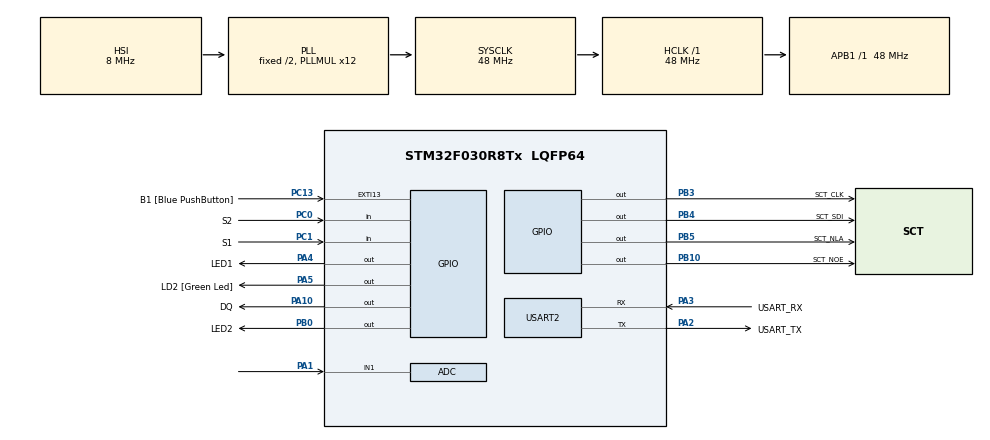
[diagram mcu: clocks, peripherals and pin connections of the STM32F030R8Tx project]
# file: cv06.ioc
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ADC.ContinuousConvMode=ENABLE
ADC.Overrun=ADC_OVR_DATA_OVERWRITTEN
ADC.Resolution=ADC_RESOLUTION_10B
Mcu.Family=STM32F0
Mcu.Name=STM32F030R8Tx
Mcu.Package=LQFP64
PA1.Mode=IN1
PA1.Signal=ADC_IN1
PA10.GPIO_Label=DQ
PA10.GPIO_ModeDefaultOutputPP=GPIO_MODE_OUTPUT_OD
PA10.GPIO_PuPd=GPIO_NOPULL
PA10.PinState=GPIO_PIN_SET
PA10.Signal=GPIO_Output
PA13.GPIO_Label=TMS
PA13.Mode=Serial_Wire
PA13.Signal=SYS_SWDIO
PA14.GPIO_Label=TCK
PA14.Mode=Serial_Wire
PA14.Signal=SYS_SWCLK
PA2.GPIO_Label=USART_TX
PA2.GPIO_Mode=GPIO_MODE_AF_PP
PA2.GPIO_PuPd=GPIO_NOPULL
PA2.GPIO_Speed=GPIO_SPEED_FREQ_LOW
PA2.Mode=Asynchronous
PA2.Signal=USART2_TX
PA3.GPIO_Label=USART_RX
PA3.GPIO_Mode=GPIO_MODE_AF_PP
PA3.GPIO_PuPd=GPIO_NOPULL
PA3.GPIO_Speed=GPIO_SPEED_FREQ_LOW
PA3.Mode=Asynchronous
PA3.Signal=USART2_RX
PA4.GPIO_Label=LED1
PA4.Signal=GPIO_Output
PA5.GPIO_Label=LD2 [Green Led]
PA5.GPIO_Mode=GPIO_MODE_OUTPUT_PP
PA5.GPIO_PuPd=GPIO_NOPULL
PA5.GPIO_Speed=GPIO_SPEED_FREQ_LOW
PA5.Signal=GPIO_Output
PB0.GPIO_Label=LED2
PB0.Signal=GPIO_Output
PB10.GPIO_Label=SCT_NOE
PB10.Signal=GPIO_Output
PB3.GPIO_Label=SCT_CLK
PB3.Signal=GPIO_Output
PB4.GPIO_Label=SCT_SDI
PB4.Signal=GPIO_Output
PB5.GPIO_Label=SCT_NLA
PB5.Signal=GPIO_Output
PC0.GPIO_Label=S2
PC0.GPIO_PuPd=GPIO_PULLUP
PC0.Signal=GPIO_Input
PC1.GPIO_Label=S1
PC1.GPIO_PuPd=GPIO_PULLUP
PC1.Signal=GPIO_Input
PC13.GPIO_Label=B1 [Blue PushButton]
PC13.GPIO_ModeDefaultEXTI=GPIO_MODE_IT_FALLING
PC13.Signal=GPXTI13
PC14-OSC32_IN.Mode=LSE-External-Oscillator
PC14-OSC32_IN.Signal=RCC_OSC32_IN
PC15-OSC32_OUT.Mode=LSE-External-Oscillator
PC15-OSC32_OUT.Signal=RCC_OSC32_OUT
PF0-OSC_IN.Mode=HSE-External-Clock-Source
PF0-OSC_IN.Signal=RCC_OSC_IN
PF1-OSC_OUT.Signal=RCC_OSC_OUT
ProjectManager.HeapSize=0x200
ProjectManager.StackSize=0x400
ProjectManager.TargetToolchain=STM32CubeIDE
RCC.AHBFreq_Value=48000000
RCC.APB1Freq_Value=48000000
RCC.APB1TimFreq_Value=48000000
RCC.HCLKFreq_Value=48000000
RCC.PLLMUL=RCC_PLL_MUL12
RCC.SYSCLKFreq_VALUE=48000000
RCC.SYSCLKSource=RCC_SYSCLKSOURCE_PLLCLK
USART2.VirtualMode-Asynchronous=VM_ASYNC
board=NUCLEO-F030R8

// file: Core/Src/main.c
/* USER CODE BEGIN Header */
/**
  ******************************************************************************
  * @file           : main.c
  * @brief          : Main program body
  ******************************************************************************
  * @attention
  *
  * Copyright (c) 2024 STMicroelectronics.
  * All rights reserved.
  *
  * This software is licensed under terms that can be found in the LICENSE file
  * in the root directory of this software component.
  * If no LICENSE file comes with this software, it is provided AS-IS.
  *
  ******************************************************************************
  */
/* USER CODE END Header */
#include "main.h"

/* USER CODE BEGIN Includes */

#include "sct.h"
#include "1wire.h"

/* USER CODE END Includes */

/* USER CODE BEGIN PD */

#define CONVERT_T_DELAY 750
#define SAMPLE_DELAY 40

/* USER CODE END PD */

ADC_HandleTypeDef hadc;

UART_HandleTypeDef huart2;

void SystemClock_Config(void);
static void MX_GPIO_Init(void);
static void MX_USART2_UART_Init(void);
static void MX_ADC_Init(void);
/* USER CODE BEGIN PFP */

extern uint8_t OWReadTemperature(int16_t *temperature);

/* USER CODE END PFP */

int main(void)
{

  /* MCU Configuration--------------------------------------------------------*/

  /* Reset of all peripherals, Initializes the Flash interface and the Systick. */
  HAL_Init();

  /* Configure the system clock */
  SystemClock_Config();

  /* Initialize all configured peripherals */
  MX_GPIO_Init();
  MX_USART2_UART_Init();
  MX_ADC_Init();
  /* USER CODE BEGIN 2 */

  HAL_ADCEx_Calibration_Start(&hadc);
  HAL_ADC_Start(&hadc);

  sct_init();
  OWInit();

  static const int16_t ntc_lookup[] = {
		  #include "data.dlm"
  };

 /* DEFAULT LED STATUS */
	HAL_GPIO_WritePin(LED1_GPIO_Port, LED1_Pin, SET);
	HAL_GPIO_WritePin(LED2_GPIO_Port, LED2_Pin, RESET);

  /* USER CODE END 2 */

  /* Infinite loop */
	while (1) {

		/* USER CODE BEGIN 3 */

		static enum { SHOW_NTC, SHOW_DS18B20 } state = SHOW_NTC;

		static uint32_t old_s1;
		static uint32_t old_s2;

		uint32_t new_s1 = HAL_GPIO_ReadPin(S1_GPIO_Port, S1_Pin);
		uint32_t new_s2 = HAL_GPIO_ReadPin(S2_GPIO_Port, S2_Pin);

		if (old_s1 && !new_s1) { // LED2, DS18B20
			HAL_GPIO_WritePin(LED2_GPIO_Port, LED2_Pin, SET);
			HAL_GPIO_WritePin(LED1_GPIO_Port, LED1_Pin, RESET);

			state = SHOW_DS18B20;
		}
		if (old_s2 && !new_s2) { // LED1, NTC
			HAL_GPIO_WritePin(LED1_GPIO_Port, LED1_Pin, SET);
			HAL_GPIO_WritePin(LED2_GPIO_Port, LED2_Pin, RESET);

			state = SHOW_NTC;
		}
		old_s1 = new_s1;
		old_s2 = new_s2;

		switch (state) {
		case SHOW_NTC:
			int16_t adc_value;

			adc_value = HAL_ADC_GetValue(&hadc);
			sct_value(ntc_lookup[adc_value]);

			break;

		case SHOW_DS18B20:
			int16_t temp_18b20;
			static uint16_t tick;

			if (tick >= CONVERT_T_DELAY) {
				OWConvertAll();
				if (OWReadTemperature(&temp_18b20) != 0) {
					sct_value(temp_18b20 / 10);
				} else {
					sct_value(0);
				}

				tick = 0;
			}
			tick += SAMPLE_DELAY;

			break;
		}

		HAL_Delay(SAMPLE_DELAY);
	}
	/* USER CODE END 3 */
}

void SystemClock_Config(void)
{
  RCC_OscInitTypeDef RCC_OscInitStruct = {0};
  RCC_ClkInitTypeDef RCC_ClkInitStruct = {0};

  /** Initializes the RCC Oscillators according to the specified parameters
  * in the RCC_OscInitTypeDef structure.
  */
  RCC_OscInitStruct.OscillatorType = RCC_OSCILLATORTYPE_HSI|RCC_OSCILLATORTYPE_HSI14;
  RCC_OscInitStruct.HSIState = RCC_HSI_ON;
  RCC_OscInitStruct.HSI14State = RCC_HSI14_ON;
  RCC_OscInitStruct.HSICalibrationValue = RCC_HSICALIBRATION_DEFAULT;
  RCC_OscInitStruct.HSI14CalibrationValue = 16;
  RCC_OscInitStruct.PLL.PLLState = RCC_PLL_ON;
  RCC_OscInitStruct.PLL.PLLSource = RCC_PLLSOURCE_HSI;
  RCC_OscInitStruct.PLL.PLLMUL = RCC_PLL_MUL12;
  RCC_OscInitStruct.PLL.PREDIV = RCC_PREDIV_DIV1;
  if (HAL_RCC_OscConfig(&RCC_OscInitStruct) != HAL_OK)
  {
    Error_Handler();
  }

  /** Initializes the CPU, AHB and APB buses clocks
  */
  RCC_ClkInitStruct.ClockType = RCC_CLOCKTYPE_HCLK|RCC_CLOCKTYPE_SYSCLK
                              |RCC_CLOCKTYPE_PCLK1;
  RCC_ClkInitStruct.SYSCLKSource = RCC_SYSCLKSOURCE_PLLCLK;
  RCC_ClkInitStruct.AHBCLKDivider = RCC_SYSCLK_DIV1;
  RCC_ClkInitStruct.APB1CLKDivider = RCC_HCLK_DIV1;

  if (HAL_RCC_ClockConfig(&RCC_ClkInitStruct, FLASH_LATENCY_1) != HAL_OK)
  {
    Error_Handler();
  }
}

static void MX_ADC_Init(void)
{

  ADC_ChannelConfTypeDef sConfig = {0};

  /** Configure the global features of the ADC (Clock, Resolution, Data Alignment and number of conversion)
  */
  hadc.Instance = ADC1;
  hadc.Init.ClockPrescaler = ADC_CLOCK_ASYNC_DIV1;
  hadc.Init.Resolution = ADC_RESOLUTION_10B;
  hadc.Init.DataAlign = ADC_DATAALIGN_RIGHT;
  hadc.Init.ScanConvMode = ADC_SCAN_DIRECTION_FORWARD;
  hadc.Init.EOCSelection = ADC_EOC_SINGLE_CONV;
  hadc.Init.LowPowerAutoWait = DISABLE;
  hadc.Init.LowPowerAutoPowerOff = DISABLE;
  hadc.Init.ContinuousConvMode = ENABLE;
  hadc.Init.DiscontinuousConvMode = DISABLE;
  hadc.Init.ExternalTrigConv = ADC_SOFTWARE_START;
  hadc.Init.ExternalTrigConvEdge = ADC_EXTERNALTRIGCONVEDGE_NONE;
  hadc.Init.DMAContinuousRequests = DISABLE;
  hadc.Init.Overrun = ADC_OVR_DATA_OVERWRITTEN;
  if (HAL_ADC_Init(&hadc) != HAL_OK)
  {
    Error_Handler();
  }

  /** Configure for the selected ADC regular channel to be converted.
  */
  sConfig.Channel = ADC_CHANNEL_1;
  sConfig.Rank = ADC_RANK_CHANNEL_NUMBER;
  sConfig.SamplingTime = ADC_SAMPLETIME_1CYCLE_5;
  if (HAL_ADC_ConfigChannel(&hadc, &sConfig) != HAL_OK)
  {
    Error_Handler();
  }

}

static void MX_USART2_UART_Init(void)
{

  huart2.Instance = USART2;
  huart2.Init.BaudRate = 38400;
  huart2.Init.WordLength = UART_WORDLENGTH_8B;
  huart2.Init.StopBits = UART_STOPBITS_1;
  huart2.Init.Parity = UART_PARITY_NONE;
  huart2.Init.Mode = UART_MODE_TX_RX;
  huart2.Init.HwFlowCtl = UART_HWCONTROL_NONE;
  huart2.Init.OverSampling = UART_OVERSAMPLING_16;
  huart2.Init.OneBitSampling = UART_ONE_BIT_SAMPLE_DISABLE;
  huart2.AdvancedInit.AdvFeatureInit = UART_ADVFEATURE_NO_INIT;
  if (HAL_UART_Init(&huart2) != HAL_OK)
  {
    Error_Handler();
  }

}

static void MX_GPIO_Init(void)
{
  GPIO_InitTypeDef GPIO_InitStruct = {0};

  /* GPIO Ports Clock Enable */
  __HAL_RCC_GPIOC_CLK_ENABLE();
  __HAL_RCC_GPIOF_CLK_ENABLE();
  __HAL_RCC_GPIOA_CLK_ENABLE();
  __HAL_RCC_GPIOB_CLK_ENABLE();

  /*Configure GPIO pin Output Level */
  HAL_GPIO_WritePin(GPIOA, LED1_Pin|LD2_Pin, GPIO_PIN_RESET);

  /*Configure GPIO pin Output Level */
  HAL_GPIO_WritePin(GPIOB, LED2_Pin|SCT_NOE_Pin|SCT_CLK_Pin|SCT_SDI_Pin
                          |SCT_NLA_Pin, GPIO_PIN_RESET);

  /*Configure GPIO pin Output Level */
  HAL_GPIO_WritePin(DQ_GPIO_Port, DQ_Pin, GPIO_PIN_SET);

  /*Configure GPIO pin : B1_Pin */
  GPIO_InitStruct.Pin = B1_Pin;
  GPIO_InitStruct.Mode = GPIO_MODE_IT_FALLING;
  GPIO_InitStruct.Pull = GPIO_NOPULL;
  HAL_GPIO_Init(B1_GPIO_Port, &GPIO_InitStruct);

  /*Configure GPIO pins : S2_Pin S1_Pin */
  GPIO_InitStruct.Pin = S2_Pin|S1_Pin;
  GPIO_InitStruct.Mode = GPIO_MODE_INPUT;
  GPIO_InitStruct.Pull = GPIO_PULLUP;
  HAL_GPIO_Init(GPIOC, &GPIO_InitStruct);

  /*Configure GPIO pins : LED1_Pin LD2_Pin */
  GPIO_InitStruct.Pin = LED1_Pin|LD2_Pin;
  GPIO_InitStruct.Mode = GPIO_MODE_OUTPUT_PP;
  GPIO_InitStruct.Pull = GPIO_NOPULL;
  GPIO_InitStruct.Speed = GPIO_SPEED_FREQ_LOW;
  HAL_GPIO_Init(GPIOA, &GPIO_InitStruct);

  /*Configure GPIO pins : LED2_Pin SCT_NOE_Pin SCT_CLK_Pin SCT_SDI_Pin
                           SCT_NLA_Pin */
  GPIO_InitStruct.Pin = LED2_Pin|SCT_NOE_Pin|SCT_CLK_Pin|SCT_SDI_Pin
                          |SCT_NLA_Pin;
  GPIO_InitStruct.Mode = GPIO_MODE_OUTPUT_PP;
  GPIO_InitStruct.Pull = GPIO_NOPULL;
  GPIO_InitStruct.Speed = GPIO_SPEED_FREQ_LOW;
  HAL_GPIO_Init(GPIOB, &GPIO_InitStruct);

  /*Configure GPIO pin : DQ_Pin */
  GPIO_InitStruct.Pin = DQ_Pin;
  GPIO_InitStruct.Mode = GPIO_MODE_OUTPUT_OD;
  GPIO_InitStruct.Pull = GPIO_NOPULL;
  GPIO_InitStruct.Speed = GPIO_SPEED_FREQ_LOW;
  HAL_GPIO_Init(DQ_GPIO_Port, &GPIO_InitStruct);

}

void Error_Handler(void)
{
  __disable_irq();
  while (1)
  {
  }
}
